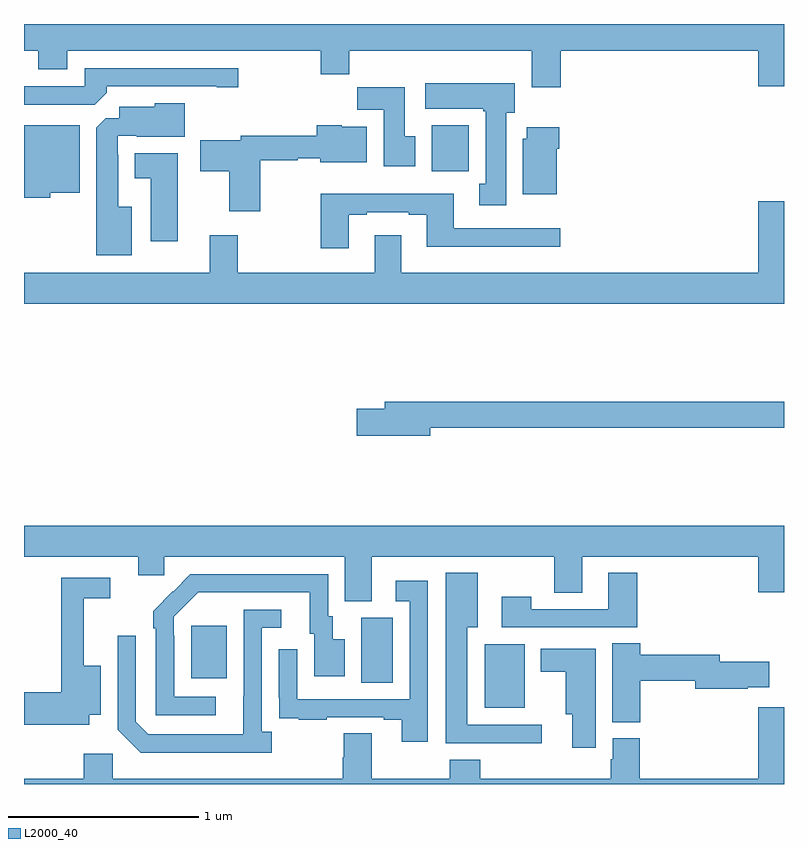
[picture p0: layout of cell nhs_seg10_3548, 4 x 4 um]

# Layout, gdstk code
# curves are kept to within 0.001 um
import gdstk
lib = gdstk.Library(unit=1e-6, precision=1e-09)
def R(c, l, rs):  # rectangles x0, y0, x1, y1
    for r in rs: c.add(gdstk.rectangle(r[:2], r[2:], *l))
def P(c, l, *ps):  # polygons
    for p in ps: c.add(gdstk.Polygon(p, *l))
L2000_40 = (2000, 40)

nhs_seg10_3548 = lib.new_cell('nhs_seg10_3548')
R(nhs_seg10_3548, L2000_40, [(307.424,1252.901,307.636,1253.236), (306.776,1253.032,306.94,1253.376), (305.879,1253.057,306.067,1253.332), (307.145,1255.724,307.342,1255.966)])
P(nhs_seg10_3548, L2000_40, [(307.826,1256.36),(308.864,1256.36),(308.864,1256.172),(309,1256.172),(309,1256.5),(305,1256.5),(305,1256.36),(305.075,1256.36),(305.075,1256.261),(305.227,1256.261),(305.227,1256.36),(306.562,1256.36),(306.562,1256.236),(306.713,1256.236),(306.713,1256.36),(307.673,1256.36),(307.673,1256.166),(307.826,1256.166)],
  [(305.435,1256.138),(305.435,1256.172),(306.014,1256.172),(306.014,1256.167),(306.127,1256.167),(306.127,1256.268),(305.319,1256.268),(305.319,1256.172),(305,1256.172),(305,1256.076),(305.373,1256.076)],
  [(307.537,1256.034),(307.582,1256.034),(307.582,1256.188),(307.113,1256.188),(307.113,1256.054),(307.417,1256.054),(307.417,1256.041),(307.43,1256.041),(307.43,1255.658),(307.397,1255.658),(307.397,1255.545),(307.537,1255.545)],
  [(307.06,1255.908),(307.003,1255.908),(307.003,1256.167),(306.754,1256.167),(306.754,1256.048),(306.893,1256.048),(306.893,1255.752),(307.06,1255.752)],
  [(305.566,1255.537),(305.497,1255.537),(305.497,1255.811),(305.493,1255.811),(305.493,1255.911),(305.593,1255.911),(305.593,1255.907),(305.845,1255.907),(305.845,1256.083),(305.688,1256.083),(305.688,1256.065),(305.501,1256.065),(305.501,1256.004),(305.43,1256.004),(305.381,1255.955),(305.381,1255.283),(305.566,1255.283)],
  [(306.243,1255.783),(306.44,1255.783),(306.44,1255.794),(306.558,1255.794),(306.558,1255.772),(306.805,1255.772),(306.805,1255.96),(306.672,1255.96),(306.672,1255.966),(306.54,1255.966),(306.54,1255.912),(306.141,1255.912),(306.141,1255.888),(305.928,1255.888),(305.928,1255.726),(306.08,1255.726),(306.08,1255.515),(306.243,1255.515)],
  [(305.139,1255.613),(305.293,1255.613),(305.293,1255.966),(305,1255.966),(305,1255.586),(305.139,1255.586)],
  [(307.804,1255.844),(307.817,1255.844),(307.817,1255.957),(307.646,1255.957),(307.646,1255.896),(307.625,1255.896),(307.625,1255.604),(307.804,1255.604)],
  [(305.809,1255.819),(305.582,1255.819),(305.582,1255.688),(305.666,1255.688),(305.666,1255.356),(305.809,1255.356)],
  [(306.709,1255.497),(306.805,1255.497),(306.805,1255.509),(307.025,1255.509),(307.025,1255.497),(307.121,1255.497),(307.121,1255.328),(307.822,1255.328),(307.822,1255.425),(307.261,1255.425),(307.261,1255.606),(306.562,1255.606),(306.562,1255.32),(306.709,1255.32)],
  [(309,1255.567),(308.864,1255.567),(308.864,1255.192),(306.985,1255.192),(306.985,1255.387),(306.845,1255.387),(306.845,1255.192),(306.126,1255.192),(306.126,1255.387),(305.978,1255.387),(305.978,1255.192),(305,1255.192),(305,1255.028),(309,1255.028)],
  [(307.138,1254.376),(309,1254.376),(309,1254.512),(306.899,1254.512),(306.899,1254.476),(306.75,1254.476),(306.75,1254.334),(307.138,1254.334)],
  [(306.829,1253.696),(307.792,1253.696),(307.792,1253.506),(307.939,1253.506),(307.939,1253.696),(308.864,1253.696),(308.864,1253.508),(309,1253.508),(309,1253.86),(305,1253.86),(305,1253.696),(305.6,1253.696),(305.6,1253.598),(305.739,1253.598),(305.739,1253.696),(306.689,1253.696),(306.689,1253.461),(306.829,1253.461)],
  [(307.726,1252.812),(307.333,1252.812),(307.333,1253.324),(307.387,1253.324),(307.387,1253.611),(307.22,1253.611),(307.22,1252.715),(307.726,1252.715)],
  [(308.228,1253.611),(308.075,1253.611),(308.075,1253.421),(307.671,1253.421),(307.671,1253.485),(307.515,1253.485),(307.515,1253.325),(308.228,1253.325)],
  [(306.01,1252.959),(305.79,1252.959),(305.79,1253.279),(305.787,1253.279),(305.787,1253.379),(305.916,1253.508),(306.503,1253.508),(306.503,1253.292),(306.527,1253.292),(306.527,1253.067),(306.688,1253.067),(306.688,1253.263),(306.625,1253.263),(306.625,1253.382),(306.6,1253.382),(306.6,1253.604),(305.876,1253.604),(305.679,1253.409),(305.679,1253.321),(305.694,1253.321),(305.694,1252.863),(306.01,1252.863)],
  [(305.344,1252.865),(305.404,1252.865),(305.404,1253.122),(305.315,1253.122),(305.315,1253.478),(305.455,1253.478),(305.455,1253.586),(305.197,1253.586),(305.197,1252.982),(305,1252.982),(305,1252.811),(305.344,1252.811)],
  [(307.125,1253.569),(306.957,1253.569),(306.957,1253.463),(307.029,1253.463),(307.029,1252.947),(306.438,1252.947),(306.438,1253.209),(306.342,1253.209),(306.342,1252.954),(306.343,1252.954),(306.343,1252.845),(306.445,1252.845),(306.445,1252.839),(306.593,1252.839),(306.593,1252.851),(306.893,1252.851),(306.893,1252.839),(306.989,1252.839),(306.989,1252.722),(307.125,1252.722)],
  [(306.304,1252.774),(306.252,1252.774),(306.252,1253.322),(306.355,1253.322),(306.355,1253.418),(306.156,1253.418),(306.155,1252.761),(305.655,1252.761),(305.589,1252.827),(305.589,1253.281),(305.493,1253.281),(305.493,1252.785),(305.614,1252.664),(306.304,1252.664)],
  [(308.243,1253.044),(308.534,1253.044),(308.534,1253.002),(308.81,1253.002),(308.81,1253.009),(308.923,1253.009),(308.923,1253.144),(308.662,1253.144),(308.662,1253.18),(308.243,1253.18),(308.243,1253.24),(308.096,1253.24),(308.096,1252.825),(308.243,1252.825)],
  [(308.008,1253.212),(307.721,1253.212),(307.721,1253.09),(307.85,1253.09),(307.85,1252.868),(307.886,1252.868),(307.886,1252.692),(308.008,1252.692)],
  [(309,1252.903),(308.864,1252.903),(308.864,1252.528),(308.24,1252.528),(308.24,1252.74),(308.099,1252.74),(308.099,1252.629),(308.087,1252.629),(308.087,1252.528),(307.4,1252.528),(307.4,1252.627),(307.24,1252.627),(307.24,1252.528),(306.829,1252.528),(306.829,1252.766),(306.682,1252.766),(306.682,1252.641),(306.677,1252.641),(306.677,1252.528),(305.466,1252.528),(305.466,1252.66),(305.315,1252.66),(305.315,1252.528),(305,1252.528),(305,1252.5),(309,1252.5)])

lib.write_gds('nhs_seg10_3548.gds')
